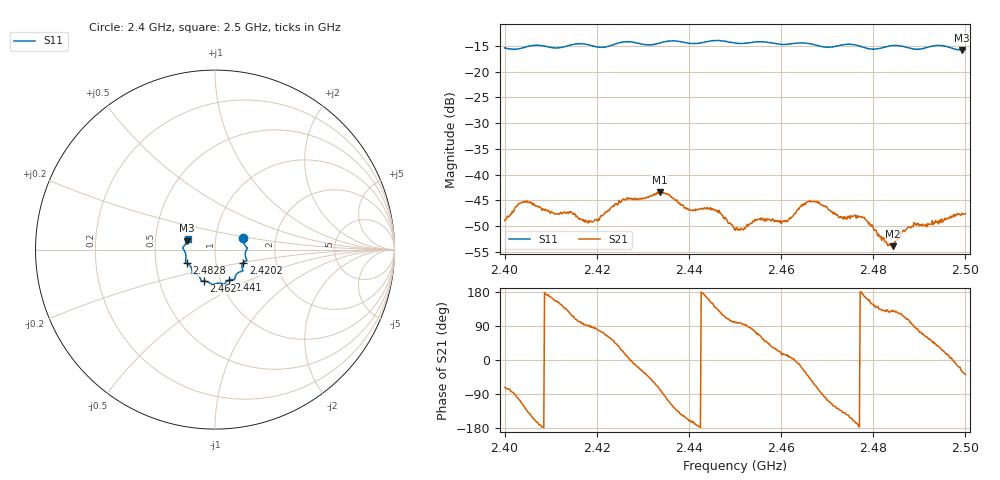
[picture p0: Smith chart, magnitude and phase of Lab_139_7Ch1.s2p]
# Hz S RI R 50
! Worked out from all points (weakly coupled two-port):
!   601 points, 2.4 GHz to 2.5 GHz, reference 50 ohm
!   highest |S21| = -43.47 dB at 2.4337 GHz (marker M1); lowest = -53.9 dB at 2.4843 GHz (marker M2)
!   lowest |S11| = -15.8 dB at 2.4992 GHz (marker M3), VSWR 1.39, Z = 36.4 + j3.72 ohm
!   |S11| at or under -10 dB: start of sweep to end of sweep
!   S12 and S22 are empty: the file has one direction only
!   S11 on the Smith chart (normalised r, x): 2.4 GHz: 1.36, +0.17; 2.4202 GHz: 1.36, -0.20; 2.441 GHz: 1.10, -0.39; 2.462 GHz: 0.84, -0.30; 2.4828 GHz: 0.72, -0.11; 2.5 GHz: 0.73, +0.09
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2.4e9  0.1584 0.0619  0.00109 -0.0034  0 0  0 0
2.404333e9  0.1715 0.0176  -0.00305 -0.00458  0 0  0 0
2.416667e9  0.1769 -0.0606  -0.000501 0.00364  0 0  0 0
2.420167e9  0.1579 -0.0719  0.000622 0.00348  0 0  0 0
2.426167e9  0.1561 -0.1175  0.00545 0.00149  0 0  0 0
2.433333e9  0.1119 -0.151  0.00209 -0.00622  0 0  0 0
2.433667e9  0.1113 -0.1539  0.00134 -0.00657  0 0  0 0
2.441e9  0.078 -0.1702  -0.00435 -0.00128  0 0  0 0
2.446e9  0.05 -0.1946  -0.0032 0.00302  0 0  0 0
2.45e9  0.0277 -0.1876  -0.00042 0.00284  0 0  0 0
2.4555e9  -0.0143 -0.1951  0.00168 0.00337  0 0  0 0
2.462e9  -0.0606 -0.1758  0.00369 0.000525  0 0  0 0
2.466667e9  -0.0788 -0.1677  0.00317 -0.00444  0 0  0 0
2.473e9  -0.1202 -0.135  -0.00262 -0.00279  0 0  0 0
2.477833e9  -0.1276 -0.1164  -0.00381 0.000458  0 0  0 0
2.482833e9  -0.1573 -0.0767  -0.00137 0.00168  0 0  0 0
2.483333e9  -0.1602 -0.0752  -0.00131 0.00164  0 0  0 0
2.484333e9  -0.1641 -0.0731  -0.00122 0.0016  0 0  0 0
2.489333e9  -0.1622 -0.032  0.000347 0.00319  0 0  0 0
2.494167e9  -0.1798 0.00963  0.00267 0.00197  0 0  0 0
2.499167e9  -0.1548 0.0498  0.00362 -0.00194  0 0  0 0
2.5e9  -0.1524 0.0615  0.00326 -0.00258  0 0  0 0
